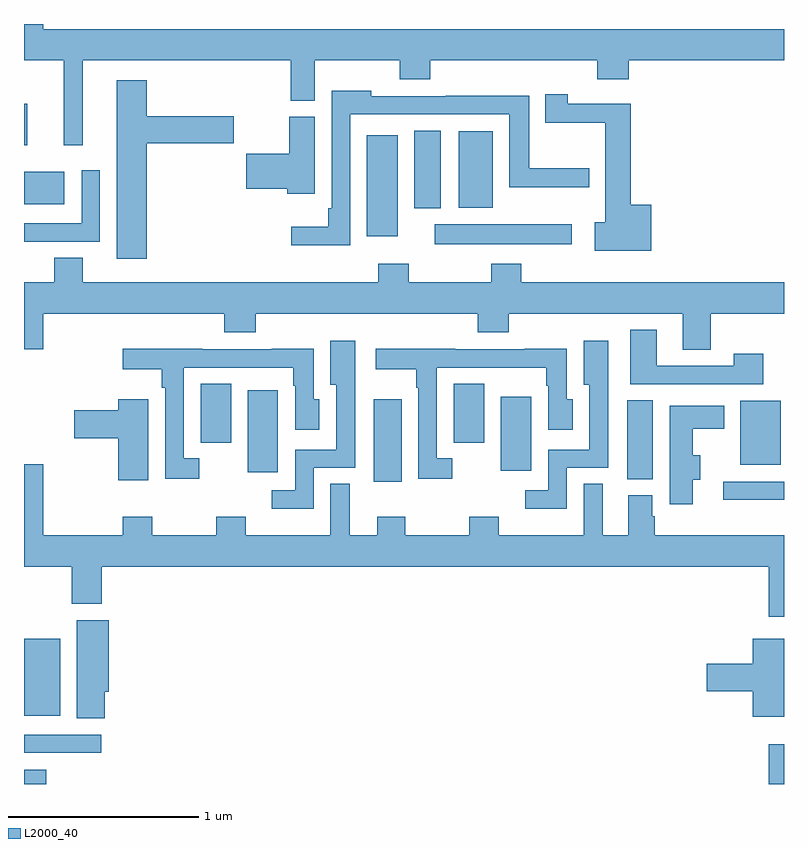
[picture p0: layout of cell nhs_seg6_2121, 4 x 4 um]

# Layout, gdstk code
import gdstk
lib = gdstk.Library(unit=1e-6, precision=1e-09)
def R(c, l, rs):  # rectangles x0, y0, x1, y1
    for r in rs: c.add(gdstk.rectangle(r[:2], r[2:], *l))
def P(c, l, *ps):  # polygons
    for p in ps: c.add(gdstk.Polygon(p, *l))
L2000_40 = (2000, 40)

nhs_seg6_2121 = lib.new_cell('nhs_seg6_2121')
R(nhs_seg6_2121, L2000_40, [(237,971.5,237.116,971.575), (240.919,971.5,241,971.71), (237,971.664,237.406,971.76), (237,971.858,237.19,972.265), (240.681,972.995,241,973.092), (238.841,973.091,238.987,973.525), (240.176,973.105,240.31,973.52), (238.178,973.14,238.336,973.573), (239.51,973.148,239.671,973.537), (240.77,973.181,240.982,973.516), (237.929,973.296,238.09,973.607), (239.261,973.296,239.422,973.607), (239.163,974.342,239.884,974.446), (238.805,974.382,238.966,974.914), (239.054,974.531,239.194,974.939), (239.288,974.534,239.467,974.935), (237,974.552,237.211,974.722), (237,974.862,237.017,975.081)])
P(nhs_seg6_2121, L2000_40, [(237.1,975.5),(237,975.5),(237,975.308),(237.209,975.308),(237.209,974.862),(237.308,974.862),(237.308,975.308),(238.403,975.308),(238.403,975.097),(238.531,975.097),(238.531,975.308),(238.978,975.308),(238.978,975.209),(239.138,975.209),(239.138,975.308),(240.017,975.308),(240.017,975.209),(240.182,975.209),(240.182,975.308),(241,975.308),(241,975.472),(237.1,975.472)],
  [(237.647,974.873),(238.105,974.873),(238.105,975.015),(237.647,975.015),(237.647,975.205),(237.488,975.205),(237.488,974.265),(237.647,974.265)],
  [(238.716,975.024),(239.555,975.024),(239.555,974.642),(239.974,974.642),(239.974,974.742),(239.659,974.742),(239.659,975.122),(239.221,975.122),(239.221,975.12),(238.827,975.12),(238.827,975.148),(238.62,975.148),(238.62,974.53),(238.6,974.53),(238.6,974.434),(238.407,974.434),(238.407,974.336),(238.716,974.336)],
  [(240.301,974.548),(240.194,974.548),(240.194,975.079),(239.862,975.079),(239.862,975.13),(239.744,975.13),(239.744,974.98),(240.059,974.98),(240.059,974.456),(240.003,974.456),(240.003,974.306),(240.301,974.306)],
  [(238.531,975.012),(238.397,975.012),(238.397,974.816),(238.17,974.816),(238.17,974.633),(238.385,974.633),(238.385,974.606),(238.531,974.606)],
  [(237.074,974.355),(237.399,974.355),(237.399,974.731),(237.303,974.731),(237.303,974.451),(237,974.451),(237,974.354),(237.074,974.354)],
  [(240.615,973.976),(241,973.976),(241,974.14),(239.618,974.14),(239.618,974.239),(239.458,974.239),(239.458,974.14),(239.025,974.14),(239.025,974.239),(238.865,974.239),(238.865,974.14),(237.31,974.14),(237.31,974.27),(237.158,974.27),(237.158,974.14),(237,974.14),(237,973.788),(237.1,973.788),(237.1,973.976),(238.055,973.976),(238.055,973.877),(238.22,973.877),(238.22,973.976),(239.387,973.976),(239.387,973.877),(239.552,973.877),(239.552,973.976),(240.467,973.976),(240.467,973.786),(240.615,973.786)],
  [(240.892,973.765),(240.736,973.765),(240.736,973.701),(240.331,973.701),(240.331,973.891),(240.191,973.891),(240.191,973.605),(240.892,973.605)],
  [(239.856,973.164),(240.076,973.164),(240.076,973.834),(239.945,973.834),(239.945,973.601),(239.975,973.601),(239.975,973.26),(239.76,973.26),(239.76,973.047),(239.637,973.047),(239.637,972.95),(239.856,972.95)],
  [(238.524,973.164),(238.744,973.164),(238.744,973.834),(238.613,973.834),(238.613,973.601),(238.643,973.601),(238.643,973.26),(238.428,973.26),(238.428,973.047),(238.305,973.047),(238.305,972.95),(238.524,972.95)],
  [(237.922,973.215),(237.84,973.215),(237.84,973.692),(238.416,973.692),(238.416,973.595),(238.428,973.595),(238.428,973.365),(238.555,973.365),(238.555,973.524),(238.524,973.524),(238.524,973.79),(238.303,973.79),(238.303,973.788),(237.937,973.788),(237.937,973.79),(237.519,973.79),(237.519,973.682),(237.724,973.682),(237.724,973.586),(237.744,973.586),(237.744,973.107),(237.922,973.107)],
  [(239.254,973.215),(239.172,973.215),(239.172,973.692),(239.518,973.692),(239.518,973.691),(239.748,973.691),(239.748,973.595),(239.76,973.595),(239.76,973.365),(239.887,973.365),(239.887,973.524),(239.856,973.524),(239.856,973.79),(239.635,973.79),(239.635,973.788),(239.269,973.788),(239.269,973.79),(238.851,973.79),(238.851,973.682),(239.064,973.682),(239.064,973.586),(239.076,973.586),(239.076,973.107),(239.254,973.107)],
  [(237.655,973.525),(237.497,973.525),(237.497,973.466),(237.264,973.466),(237.264,973.319),(237.497,973.319),(237.497,973.098),(237.655,973.098)],
  [(240.52,973.102),(240.559,973.102),(240.559,973.231),(240.52,973.231),(240.52,973.37),(240.685,973.37),(240.685,973.492),(240.398,973.492),(240.398,972.972),(240.52,972.972)],
  [(241,972.808),(240.32,972.808),(240.32,972.909),(240.307,972.909),(240.307,973.02),(240.179,973.02),(240.179,972.808),(240.046,972.808),(240.046,973.079),(239.945,973.079),(239.945,972.808),(239.499,972.808),(239.499,972.907),(239.344,972.907),(239.344,972.808),(239.007,972.808),(239.007,972.907),(238.859,972.907),(238.859,972.808),(238.714,972.808),(238.714,973.079),(238.613,973.079),(238.613,972.808),(238.167,972.808),(238.167,972.907),(238.012,972.907),(238.012,972.808),(237.675,972.808),(237.675,972.907),(237.52,972.907),(237.52,972.808),(237.1,972.808),(237.1,973.183),(237,973.183),(237,972.644),(237.25,972.644),(237.25,972.45),(237.41,972.45),(237.41,972.644),(240.919,972.644),(240.919,972.381),(241,972.381)],
  [(237.425,971.985),(237.446,971.985),(237.446,972.361),(237.278,972.361),(237.278,971.845),(237.425,971.845)],
  [(241,972.265),(240.836,972.265),(240.836,972.134),(240.594,972.134),(240.594,971.987),(240.836,971.987),(240.836,971.855),(241,971.855)])

lib.write_gds('nhs_seg6_2121.gds')
